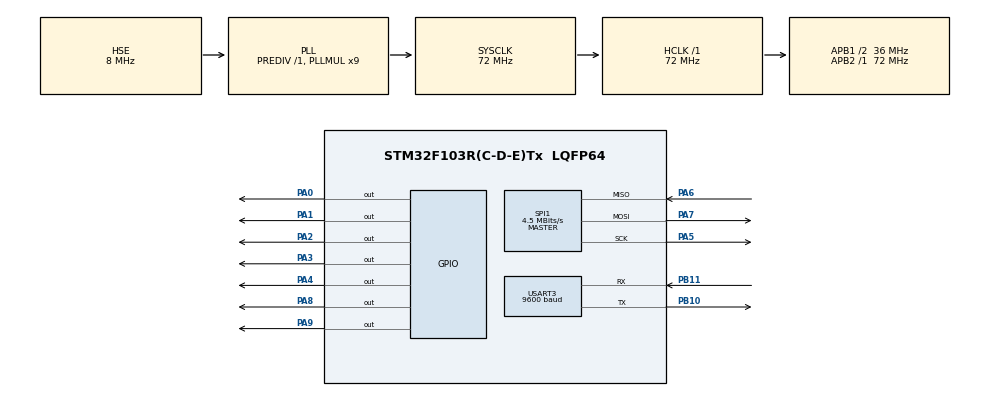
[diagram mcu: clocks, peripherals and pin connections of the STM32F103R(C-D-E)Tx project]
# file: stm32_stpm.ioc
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Mcu.Family=STM32F1
Mcu.Name=STM32F103R(C-D-E)Tx
Mcu.Package=LQFP64
NVIC.PriorityGroup=NVIC_PRIORITYGROUP_4
NVIC.TIM3_IRQn=true\:0\:0\:false
PA0-WKUP.Signal=GPIO_Output
PA1.Signal=GPIO_Output
PA13.Mode=JTAG_5_pin
PA13.Signal=SYS_JTMS-SWDIO
PA14.Mode=JTAG_5_pin
PA14.Signal=SYS_JTCK-SWCLK
PA15.Mode=JTAG_5_pin
PA15.Signal=SYS_JTDI
PA2.Signal=GPIO_Output
PA3.PinState=GPIO_PIN_SET
PA3.Signal=GPIO_Output
PA4.Signal=GPIO_Output
PA5.Mode=Full_Duplex_Master
PA5.Signal=SPI1_SCK
PA6.Mode=Full_Duplex_Master
PA6.Signal=SPI1_MISO
PA7.Mode=Full_Duplex_Master
PA7.Signal=SPI1_MOSI
PA8.Signal=GPIO_Output
PA9.Signal=GPIO_Output
PB10.Mode=Asynchronous
PB10.Signal=USART3_TX
PB11.Mode=Asynchronous
PB11.Signal=USART3_RX
PB3.Mode=JTAG_5_pin
PB3.Signal=SYS_JTDO-TRACESWO
PB4.Mode=JTAG_5_pin
PB4.Signal=SYS_NJTRST
PC14-OSC32_IN.Mode=LSE-External-Oscillator
PC14-OSC32_IN.Signal=RCC_OSC32_IN
PC15-OSC32_OUT.Mode=LSE-External-Oscillator
PC15-OSC32_OUT.Signal=RCC_OSC32_OUT
PD0-OSC_IN.Mode=HSE-External-Oscillator
PD0-OSC_IN.Signal=RCC_OSC_IN
PD1-OSC_OUT.Mode=HSE-External-Oscillator
PD1-OSC_OUT.Signal=RCC_OSC_OUT
ProjectManager.HeapSize=0x400
ProjectManager.StackSize=0x200
ProjectManager.TargetToolchain=EWARM
RCC.AHBFreq_Value=72000000
RCC.APB1CLKDivider=RCC_HCLK_DIV2
RCC.APB1Freq_Value=36000000
RCC.APB1TimFreq_Value=72000000
RCC.APB2Freq_Value=72000000
RCC.APB2TimFreq_Value=72000000
RCC.HCLKFreq_Value=72000000
RCC.HSIState=RCC_HSI_ON
RCC.PLLMUL=RCC_PLL_MUL9
RCC.PLLSourceVirtual=RCC_PLLSOURCE_HSE
RCC.SYSCLKFreq_VALUE=72000000
RCC.SYSCLKSource=RCC_SYSCLKSOURCE_PLLCLK
RCC.USBFreq_Value=48000000
RCC.USBPrescaler=RCC_USBPLLCLK_DIV1_5
SPI1.BaudRatePrescaler=SPI_BAUDRATEPRESCALER_16
SPI1.CLKPhase=SPI_PHASE_2EDGE
SPI1.CLKPolarity=SPI_POLARITY_HIGH
SPI1.CRCCalculation=SPI_CRCCALCULATION_DISABLED
SPI1.CalculateBaudRate=4.5 MBits/s
SPI1.Mode=SPI_MODE_MASTER
USART3.BaudRate=9600
VP_TIM3_VS_ClockSourceINT.Mode=Internal
board=stm32_stpm

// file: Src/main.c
/**
  ******************************************************************************
  * File Name          : main.c
  * Description        : Main program body
  ******************************************************************************
  *
  * COPYRIGHT(c) 2016 STMicroelectronics
  *
  * Redistribution and use in source and binary forms, with or without modification,
  * are permitted provided that the following conditions are met:
  *   1. Redistributions of source code must retain the above copyright notice,
  *      this list of conditions and the following disclaimer.
  *   2. Redistributions in binary form must reproduce the above copyright notice,
  *      this list of conditions and the following disclaimer in the documentation
  *      and/or other materials provided with the distribution.
  *   3. Neither the name of STMicroelectronics nor the names of its contributors
  *      may be used to endorse or promote products derived from this software
  *      without specific prior written permission.
  *
  * THIS SOFTWARE IS PROVIDED BY THE COPYRIGHT HOLDERS AND CONTRIBUTORS "AS IS"
  * AND ANY EXPRESS OR IMPLIED WARRANTIES, INCLUDING, BUT NOT LIMITED TO, THE
  * IMPLIED WARRANTIES OF MERCHANTABILITY AND FITNESS FOR A PARTICULAR PURPOSE ARE
  * DISCLAIMED. IN NO EVENT SHALL THE COPYRIGHT HOLDER OR CONTRIBUTORS BE LIABLE
  * FOR ANY DIRECT, INDIRECT, INCIDENTAL, SPECIAL, EXEMPLARY, OR CONSEQUENTIAL
  * DAMAGES (INCLUDING, BUT NOT LIMITED TO, PROCUREMENT OF SUBSTITUTE GOODS OR
  * SERVICES; LOSS OF USE, DATA, OR PROFITS; OR BUSINESS INTERRUPTION) HOWEVER
  * CAUSED AND ON ANY THEORY OF LIABILITY, WHETHER IN CONTRACT, STRICT LIABILITY,
  * OR TORT (INCLUDING NEGLIGENCE OR OTHERWISE) ARISING IN ANY WAY OUT OF THE USE
  * OF THIS SOFTWARE, EVEN IF ADVISED OF THE POSSIBILITY OF SUCH DAMAGE.
  *
  ******************************************************************************
  */
#include "stm32f1xx_hal.h"

/* USER CODE BEGIN Includes */
#include "metroTask.h"
#include "st_device.h"
/* USER CODE END Includes */

SPI_HandleTypeDef hspi1;

TIM_HandleTypeDef htim3;

UART_HandleTypeDef huart3;

/* USER CODE BEGIN PV */
/* Private variables ---------------------------------------------------------*/
uint32_t uwPrescalerValue = 0;

/* USER CODE END PV */

void SystemClock_Config(void);
static void MX_GPIO_Init(void);
static void MX_SPI1_Init(void);
static void MX_TIM3_Init(void);
static void MX_USART3_UART_Init(void);

/* USER CODE BEGIN PFP */
/* Private function prototypes -----------------------------------------------*/
/* Prescaler declaration */
static void Error_Handler(void);
static void Timer_Init();

/* USER CODE END PFP */

int main(void)
{

  /* MCU Configuration----------------------------------------------------------*/

  /* Reset of all peripherals, Initializes the Flash interface and the Systick. */
  HAL_Init();

  /* Configure the system clock */
  SystemClock_Config();

  /* Initialize all configured peripherals */
  MX_GPIO_Init();
  MX_TIM3_Init();

  MX_SPI1_Init();
  MX_USART3_UART_Init();

  /* USER CODE BEGIN 2 */
  /**************** Code needed for STPM access *******************/

  /* Init timer for application measure */
  Timer_Init();

#ifdef SPI_XFER_STPM3X /* SPI MODE */
  /* Enable SPI peripheral */
  __HAL_SPI_ENABLE(&hspi1);
#endif

#ifdef UART_XFER_STPM3X /* UART MODE */
  /* Enable UART peripheral */
  __HAL_UART_ENABLE(&huart3);
#endif

  /* Init STPM with complete sequence and set the registers*/
  METRO_Init();

  /* Start Timer Channel1 in interrupt mode*/
  if (HAL_TIM_Base_Start_IT(&htim3) != HAL_OK)
  {
    /* Starting Error */
    Error_Handler();
  }
   /***************************************************************/

  /* USER CODE END 2 */

  /* Infinite loop */
  while (1)
  {
    /**************** Measure application ************************/
    if (metroData.metroTimerActive == 1)
    {
      HAL_GPIO_TogglePin(LED2_GPIO_type, LED2_GPIO_pin);
      METRO_Update_Measures();
      metroData.metroTimerActive = 0;
    }
   /**************************************************************/

  }

}

/** System Clock Configuration
*/
void SystemClock_Config(void)
{

  RCC_OscInitTypeDef RCC_OscInitStruct;
  RCC_ClkInitTypeDef RCC_ClkInitStruct;

  RCC_OscInitStruct.OscillatorType = RCC_OSCILLATORTYPE_HSE;
  RCC_OscInitStruct.HSEState = RCC_HSE_ON;
  RCC_OscInitStruct.HSEPredivValue = RCC_HSE_PREDIV_DIV1;
  RCC_OscInitStruct.PLL.PLLState = RCC_PLL_ON;
  RCC_OscInitStruct.PLL.PLLSource = RCC_PLLSOURCE_HSE;
  RCC_OscInitStruct.PLL.PLLMUL = RCC_PLL_MUL9;
  HAL_RCC_OscConfig(&RCC_OscInitStruct);

  RCC_ClkInitStruct.ClockType = RCC_CLOCKTYPE_HCLK|RCC_CLOCKTYPE_SYSCLK
                              |RCC_CLOCKTYPE_PCLK1|RCC_CLOCKTYPE_PCLK2;
  RCC_ClkInitStruct.SYSCLKSource = RCC_SYSCLKSOURCE_PLLCLK;
  RCC_ClkInitStruct.AHBCLKDivider = RCC_SYSCLK_DIV1;
  RCC_ClkInitStruct.APB1CLKDivider = RCC_HCLK_DIV2;
  RCC_ClkInitStruct.APB2CLKDivider = RCC_HCLK_DIV1;
  HAL_RCC_ClockConfig(&RCC_ClkInitStruct, FLASH_LATENCY_2);

  HAL_SYSTICK_Config(HAL_RCC_GetHCLKFreq()/1000);

  HAL_SYSTICK_CLKSourceConfig(SYSTICK_CLKSOURCE_HCLK);

  /* SysTick_IRQn interrupt configuration */
  HAL_NVIC_SetPriority(SysTick_IRQn, 0, 0);
}

/* SPI1 init function */
void MX_SPI1_Init(void)
{

  hspi1.Instance = SPI1;
  hspi1.Init.Mode = SPI_MODE_MASTER;
  hspi1.Init.Direction = SPI_DIRECTION_2LINES;
  hspi1.Init.DataSize = SPI_DATASIZE_8BIT;
  hspi1.Init.CLKPolarity = SPI_POLARITY_HIGH;
  hspi1.Init.CLKPhase = SPI_PHASE_2EDGE;
  hspi1.Init.NSS = SPI_NSS_SOFT;
  hspi1.Init.BaudRatePrescaler = SPI_BAUDRATEPRESCALER_16;
  hspi1.Init.FirstBit = SPI_FIRSTBIT_MSB;
  hspi1.Init.TIMode = SPI_TIMODE_DISABLED;
  hspi1.Init.CRCCalculation = SPI_CRCCALCULATION_DISABLED;
  hspi1.Init.CRCPolynomial = 7;
  HAL_SPI_Init(&hspi1);
}

/* TIM3 init function */
void MX_TIM3_Init(void)
{

  TIM_ClockConfigTypeDef sClockSourceConfig;
  TIM_MasterConfigTypeDef sMasterConfig;

  htim3.Instance = TIM3;
  htim3.Init.Prescaler = 0;
  htim3.Init.CounterMode = TIM_COUNTERMODE_UP;
  htim3.Init.Period = 0;
  htim3.Init.ClockDivision = TIM_CLOCKDIVISION_DIV1;
  HAL_TIM_Base_Init(&htim3);

  sClockSourceConfig.ClockSource = TIM_CLOCKSOURCE_INTERNAL;
  HAL_TIM_ConfigClockSource(&htim3, &sClockSourceConfig);

  sMasterConfig.MasterOutputTrigger = TIM_TRGO_RESET;
  sMasterConfig.MasterSlaveMode = TIM_MASTERSLAVEMODE_DISABLE;
  HAL_TIMEx_MasterConfigSynchronization(&htim3, &sMasterConfig);

}

/* USART3 init function */
void MX_USART3_UART_Init(void)
{

  huart3.Instance = USART3;
  huart3.Init.BaudRate = 9600;
  huart3.Init.WordLength = UART_WORDLENGTH_8B;
  huart3.Init.StopBits = UART_STOPBITS_1;
  huart3.Init.Parity = UART_PARITY_NONE;
  huart3.Init.Mode = UART_MODE_TX_RX;
  huart3.Init.HwFlowCtl = UART_HWCONTROL_NONE;
  huart3.Init.OverSampling = UART_OVERSAMPLING_16;
  HAL_UART_Init(&huart3);
}

/** Configure pins as
        * Analog
        * Input
        * Output
        * EVENT_OUT
        * EXTI
*/
void MX_GPIO_Init(void)
{

  GPIO_InitTypeDef GPIO_InitStruct;

  /* GPIO Ports Clock Enable */
  __GPIOC_CLK_ENABLE();
  __GPIOD_CLK_ENABLE();
  __GPIOA_CLK_ENABLE();
  __GPIOB_CLK_ENABLE();

  /*Configure GPIO pin Output Level */
  HAL_GPIO_WritePin(GPIOA, GPIO_PIN_0|GPIO_PIN_1|GPIO_PIN_2|GPIO_PIN_4
                          |GPIO_PIN_8|GPIO_PIN_9, GPIO_PIN_RESET);

  /*Configure GPIO pin Output Level */
  HAL_GPIO_WritePin(GPIOA, GPIO_PIN_3, GPIO_PIN_SET);

  /*Configure GPIO pins : PA0 PA1 PA2 PA3
                           PA4 PA8 PA9 */
  GPIO_InitStruct.Pin = GPIO_PIN_0|GPIO_PIN_1|GPIO_PIN_2|GPIO_PIN_3
                          |GPIO_PIN_4|GPIO_PIN_8|GPIO_PIN_9;
  GPIO_InitStruct.Mode = GPIO_MODE_OUTPUT_PP;
  GPIO_InitStruct.Speed = GPIO_SPEED_LOW;
  HAL_GPIO_Init(GPIOA, &GPIO_InitStruct);

}

/* USER CODE BEGIN 4 */
  /**************** Code needed for simple application *******************/

/**
  * @brief  Period elapsed callback in non blocking mode
  * @param  htim : TIM handle
  * @retval None
  */
void HAL_TIM_PeriodElapsedCallback(TIM_HandleTypeDef *htim)
{
  METRO_Latch_Measures();
  metroData.metroTimerActive = 1;
}
/**
  * @brief  Configure timer with 1s period
  * @param  None
  * @retval None
  */

static void Timer_Init()
{
    /*##-1- Configure the TIM peripheral #######################################*/
  /* -----------------------------------------------------------------------
    In this example TIM3 input clock (TIM3CLK)  is set to APB1 clock (PCLK1) x2,
    since APB1 prescaler is set to 4 (0x100).
       TIM3CLK = PCLK1*2
       PCLK1   = HCLK/2
    => TIM3CLK = PCLK1*2 = (HCLK/2)*2 = HCLK = SystemCoreClock
    To get TIM3 counter clock at 10 KHz, the Prescaler is computed as following:
    Prescaler = (TIM3CLK / TIM3 counter clock) - 1
    Prescaler = (SystemCoreClock /10 KHz) - 1

    Note:
     SystemCoreClock variable holds HCLK frequency and is defined in system_stm32f1xx.c file.
     Each time the core clock (HCLK) changes, user had to update SystemCoreClock
     variable value. Otherwise, any configuration based on this variable will be incorrect.
     This variable is updated in three ways:
      1) by calling CMSIS function SystemCoreClockUpdate()
      2) by calling HAL API function HAL_RCC_GetSysClockFreq()
      3) each time HAL_RCC_ClockConfig() is called to configure the system clock frequency
  ----------------------------------------------------------------------- */

  /* Compute the prescaler value to have TIMx counter clock equal to 10000 Hz */
  uwPrescalerValue = (uint32_t)(SystemCoreClock / 10000) - 1;

  /* Set TIMx instance */
  htim3.Instance = TIM3;

  /* Initialize TIMx peripheral as follows:
       + Period = 10000 - 1
       + Prescaler = (SystemCoreClock/10000) - 1
       + ClockDivision = 0
       + Counter direction = Up
  */
  htim3.Init.Period            = 10000 - 1;
  htim3.Init.Prescaler         = uwPrescalerValue;
  htim3.Init.ClockDivision     = 0;
  htim3.Init.CounterMode       = TIM_COUNTERMODE_UP;
  htim3.Init.RepetitionCounter = 0;

  if (HAL_TIM_Base_Init(&htim3) != HAL_OK)
  {
    /* Initialization Error */
    Error_Handler();
  }

}

/**
  * @brief  This function is executed in case of error occurrence.
  * @param  None
  * @retval None
  */
static void Error_Handler(void)
{
  while (1)
  {
  }
}

   /***************************************************************/

/* USER CODE END 4 */

/************************ (C) COPYRIGHT STMicroelectronics *****END OF FILE****/
